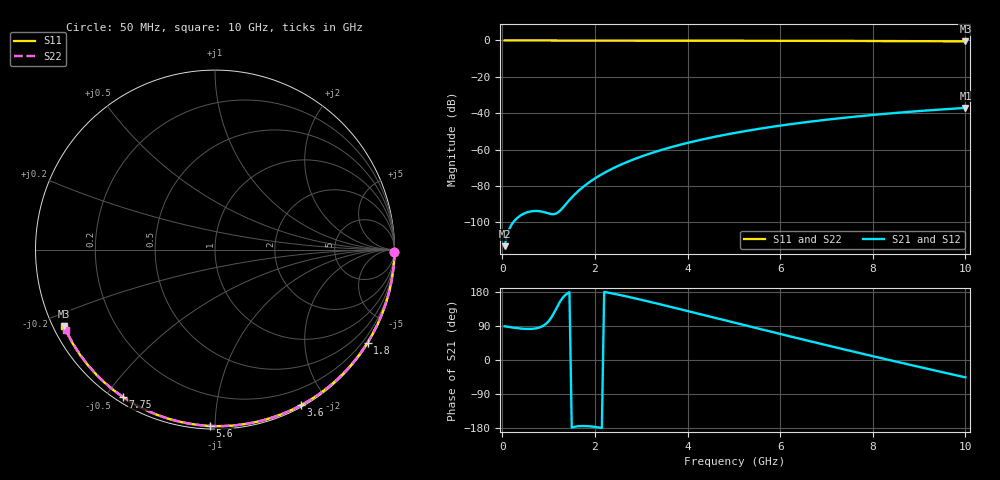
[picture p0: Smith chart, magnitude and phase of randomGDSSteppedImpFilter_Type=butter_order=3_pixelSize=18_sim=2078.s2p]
! freq	dB(S11)	phase(S11)	dB(S12)	phase(S12)
!  dB(S21)	phase(S21)	dB(S22)	phase(S22)
!S-par simulation data
#  GHz  S  DB  R 50
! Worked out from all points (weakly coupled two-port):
!   200 points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, 50 MHz to 10 GHz, reference 50 ohm
!   highest |S21| = -37.07 dB at 10 GHz (marker M1); lowest = -113.1 dB at 50 MHz (marker M2)
!   lowest |S11| = -0.5 dB at 10 GHz (marker M3), VSWR 34.54, Z = 1.53 - j11.9 ohm
!   |S11| at or under -10 dB: nowhere
!   |S22| runs from -0.5 to 0.0 dB; largest |S21 - S12| = 0
!   S11 on the Smith chart (normalised r, x): 50 MHz: open; 1.8 GHz: 0.03, -3.56; 3.6 GHz: 0.02, -1.69; 5.6 GHz: 0.02, -0.97; 7.75 GHz: 0.02, -0.55; 10 GHz: 0.03, -0.24
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0.05  -0.00 -0.9  -113.06 89.0  -113.06 89.0  -0.00 -0.9
0.45  -0.01 -8.0  -95.36 82.5  -95.36 82.5  -0.01 -7.9
0.85  -0.02 -15.0  -94.05 88.1  -94.05 88.1  -0.02 -14.8
1.3  -0.03 -22.8  -92.12 163.5  -92.12 163.5  -0.03 -22.5
1.75  -0.04 -30.5  -80.40 -174.2  -80.40 -174.2  -0.04 -30.2
1.8  -0.04 -31.4  -79.40 -174.3  -79.40 -174.3  -0.04 -31.0
1.95  -0.04 -34.0  -76.66 -175.8  -76.66 -175.8  -0.04 -33.5
2.1  -0.05 -36.5  -74.25 -178.3  -74.25 -178.3  -0.05 -36.0
2.3  -0.05 -39.9  -71.43 177.5  -71.43 177.5  -0.05 -39.4
2.5  -0.05 -43.2  -68.95 172.6  -68.95 172.6  -0.05 -42.7
2.9  -0.06 -49.8  -64.74 161.8  -64.74 161.8  -0.06 -49.2
3.4  -0.08 -57.9  -60.45 147.3  -60.45 147.3  -0.08 -57.2
3.6  -0.08 -61.1  -58.97 141.3  -58.97 141.3  -0.08 -60.4
4.3  -0.10 -72.1  -54.51 120.2  -54.51 120.2  -0.10 -71.3
5.05  -0.13 -83.5  -50.68 97.4  -50.68 97.4  -0.13 -82.6
5.6  -0.15 -91.7  -48.33 80.7  -48.33 80.7  -0.15 -90.7
6.15  -0.18 -99.6  -46.27 64.2  -46.27 64.2  -0.18 -98.6
6.7  -0.21 -107.4  -44.46 47.9  -44.46 47.9  -0.21 -106.4
7.75  -0.28 -122.0  -41.54 17.2  -41.54 17.2  -0.28 -120.9
8.35  -0.33 -130.2  -40.14 0.1  -40.14 0.1  -0.33 -129.0
9.2  -0.41 -141.9  -38.42 -23.8  -38.42 -23.8  -0.42 -140.6
10  -0.50 -153.1  -37.07 -45.8  -37.07 -45.8  -0.51 -151.7
